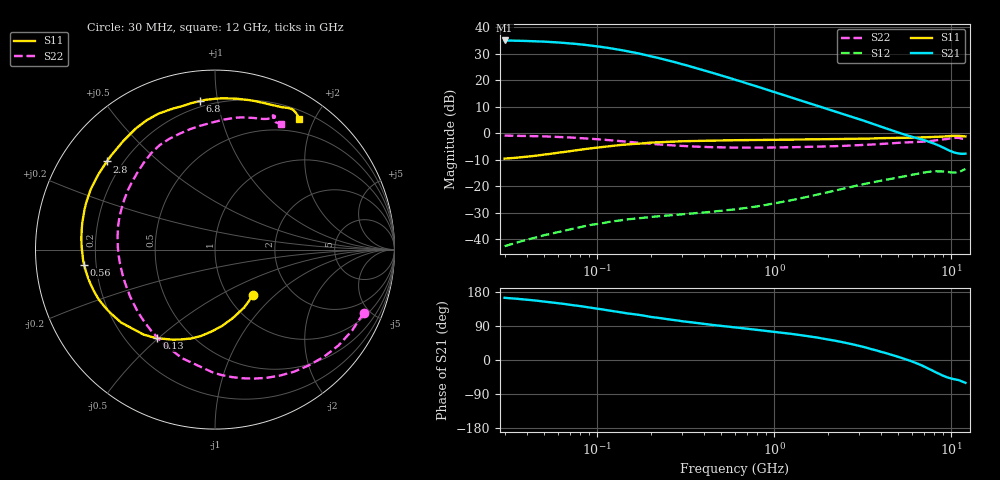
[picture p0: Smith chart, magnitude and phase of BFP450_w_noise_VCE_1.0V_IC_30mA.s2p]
! Infineon Technologies  Discrete & RF Semiconductors
! BFP450
! VCE =  1.0 V,  IC =  30 mA
! Common Emitter S-Parameters:  Nov 2015
# GHz  S  MA  R  50
!  f  S11  S21  S12  S22
! GHz  MAG  ANG  MAG  ANG  MAG  ANG  MAG  ANG
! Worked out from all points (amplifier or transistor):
!   239 points, 30 MHz to 12 GHz, reference 50 ohm
!   highest |S21| = 35.0 dB at 30 MHz (marker M1)
!   |S21| within 3 dB of that: start of sweep to 120 MHz
!   unconditionally stable (mu >= 1): 1.353 GHz to end of sweep
!   at 300 MHz: K = 0.41, MSG = 28.3 dB, |S12| = -30.6 dB
!   at 1.88 GHz: K = 1.08, MAG = 14.5 dB, |S12| = -22.7 dB
!   at 12 GHz: K = 1.09, MAG = 1.1 dB, |S12| = -13.5 dB
!   lowest NFmin = 1.27 dB at 450 MHz
!   S11 on the Smith chart (normalised r, x): 30 MHz: 1.30, -0.74; 130 MHz: 0.32, -0.49; 560 MHz: 0.15, -0.06; 2.8 GHz: 0.14, +0.35; 6.8 GHz: 0.17, +0.89; 12 GHz: 0.30, +1.79
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0.03  0.3315 -50.3  56.01 164.1  0.0074 78.5  0.9003 -23.1
0.04  0.3613 -63.2  54.73 159.2  0.0098 73.9  0.887 -30.5
0.05  0.3939 -75.3  53.24 154.3  0.0119 69.8  0.8711 -37.8
0.06  0.4275 -84.8  51.34 150.2  0.0136 65.6  0.8512 -44.6
0.07  0.4576 -92.6  49.34 145.8  0.0153 62.6  0.8299 -51.1
0.085  0.5004 -102.4  46.34 140.5  0.0176 58.4  0.7985 -60.0
0.11  0.5542 -115.1  41.52 132.5  0.0204 52.8  0.7504 -73.3
0.13  0.5919 -123.4  37.94 127.2  0.0223 49.1  0.7162 -82.5
0.15  0.6183 -130.0  34.77 122.6  0.0238 46.3  0.6869 -90.6
0.2  0.6628 -142.2  28.21 113.7  0.0263 41.6  0.6324 -106.8
0.24  0.681 -148.7  24.49 108.8  0.0277 39.6  0.6023 -116.5
0.3  0.7042 -156.5  20.05 102.5  0.0295 37.9  0.5751 -128.3
0.36  0.7148 -161.9  16.96 98.0  0.031 37.4  0.5582 -137.0
0.45  0.7258 -168.0  13.63 92.4  0.0331 37.7  0.5442 -147.0
0.56  0.7337 -173.3  11.01 87.7  0.0356 38.9  0.5362 -155.5
0.6  0.7371 -175.0  10.19 85.9  0.0366 39.4  0.5353 -158.3
1  0.7492 173.0  5.95 74.3  0.0472 43.2  0.5372 -175.7
1.64  0.7635 160.0  3.518 61.2  0.0661 43.7  0.5534 167.9
2.8  0.7773 140.8  1.98 40.8  0.0993 35.7  0.587 146.0
4.5  0.8153 117.7  1.157 14.8  0.1363 19.4  0.6449 123.2
6.8  0.8319 95.7  0.762 -14.2  0.1778 -2.6  0.6901 98.9
12  0.8676 57.2  0.411 -60.1  0.2107 -42.5  0.7887 62.3
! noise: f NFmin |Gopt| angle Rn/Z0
0.45  1.27  0.43  -175  0.06
0.9  1.34  0.47  -172  0.06
1.9  1.45  0.53  -157  0.08
2.4  1.58  0.55  -148  0.1
